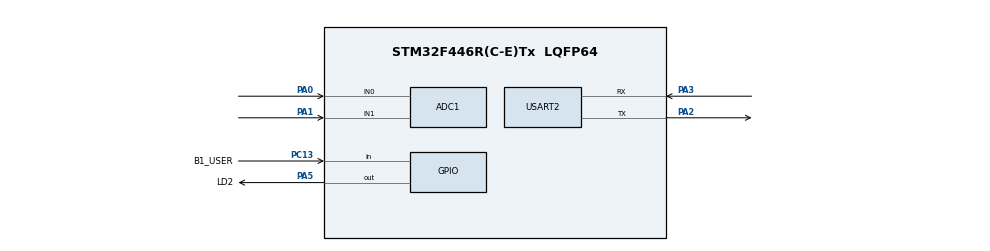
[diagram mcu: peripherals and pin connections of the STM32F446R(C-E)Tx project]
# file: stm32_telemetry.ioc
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ADC1.Channel-3\#ChannelRegularConversion=ADC_CHANNEL_0
ADC1.Channel-4\#ChannelRegularConversion=ADC_CHANNEL_1
ADC1.ClockPrescaler=ADC_CLOCK_SYNC_PCLK_DIV4
ADC1.EnableAnalogWatchDog=false
ADC1.InjNumberOfConversion=0
ADC1.NbrOfConversion=2
ADC1.NbrOfConversionFlag=1
ADC1.Rank-3\#ChannelRegularConversion=1
ADC1.Rank-4\#ChannelRegularConversion=2
ADC1.SamplingTime-3\#ChannelRegularConversion=ADC_SAMPLETIME_84CYCLES
ADC1.SamplingTime-4\#ChannelRegularConversion=ADC_SAMPLETIME_84CYCLES
ADC1.ScanConvMode=ENABLE
ADC1.master=1
Mcu.Family=STM32F4
Mcu.Name=STM32F446R(C-E)Tx
Mcu.Package=LQFP64
NVIC.PriorityGroup=NVIC_PRIORITYGROUP_4
PA0-WKUP.Signal=ADCx_IN0
PA1.Signal=ADCx_IN1
PA13.Mode=Serial_Wire
PA13.Signal=SYS_JTMS-SWDIO
PA14.Mode=Serial_Wire
PA14.Signal=SYS_JTCK-SWCLK
PA2.Mode=Asynchronous
PA2.Signal=USART2_TX
PA3.Mode=Asynchronous
PA3.Signal=USART2_RX
PA5.GPIO_Label=LD2
PA5.Signal=GPIO_Output
PC13.GPIO_Label=B1_USER
PC13.Signal=GPIO_Input
ProjectManager.HeapSize=0x200
ProjectManager.StackSize=0x400
ProjectManager.TargetToolchain=CMake
RCC.CortexFreq_Value=16000000
RCC.USBFreq_Value=96000000
RCC.VCOOutputFreq_Value=192000000
SH.ADCx_IN0.0=ADC1_IN0,IN0
SH.ADCx_IN1.0=ADC1_IN1,IN1
USART2.VirtualMode=VM_ASYNC
board=custom

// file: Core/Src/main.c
/* USER CODE BEGIN Header */
/**
  ******************************************************************************
  * @file           : main.c
  * @brief          : Main program body
  ******************************************************************************
  * @attention
  *
  * Copyright (c) 2026 STMicroelectronics.
  * All rights reserved.
  *
  * This software is licensed under terms that can be found in the LICENSE file
  * in the root directory of this software component.
  * If no LICENSE file comes with this software, it is provided AS-IS.
  *
  ******************************************************************************
  */
/* USER CODE END Header */
#include "main.h"
#include "adc.h"
#include "usart.h"
#include "gpio.h"

/* USER CODE BEGIN Includes */
#include <stdio.h>
#include "sensor_conversion.h"
#include "command_service.h"
/* USER CODE END Includes */

/* USER CODE BEGIN PD */
#define LED_TOGGLE_INTERVAL_MS 250U
#define UART_HEARTBEAT_INTERVAL_MS 2000U
#define TELEMETRY_SCHEMA_VERSION 1U

/* USER CODE END PD */

/* USER CODE BEGIN PV */
static volatile uint32_t uart_rx_count = 0U;
static uint8_t uart_rx_byte = 0U;
/* Queue shared with the ISR; restart/error flags are read by the main loop. */
static CommandService commands;
static volatile uint32_t uart_rx_errors = 0U;
static volatile bool uart_rx_restart_pending = false;
/* USER CODE END PV */

void SystemClock_Config(void);
/* USER CODE BEGIN PFP */
static void UART_Write(const char *message, uint16_t length);

/* USER CODE END PFP */

/* USER CODE BEGIN 0 */
/* message: bytes to transmit; length: byte count. Main-loop calls only. */
static void UART_Write(const char *message, uint16_t length)
{
  (void)HAL_UART_Transmit(&huart2, (const uint8_t *)message, length, 100U);
}

/* No parameters: recover RX and dispatch one bounded batch in the main loop. */
static void UART_ProcessCommands(void)
{
  if (uart_rx_restart_pending)
  {
    /* With no DMA, abort only resets receive state; it never transmits. */
    const uint32_t irq_state = __get_PRIMASK();
    __disable_irq();
    (void)HAL_UART_AbortReceive(&huart2);
    __HAL_UART_CLEAR_OREFLAG(&huart2);
    command_service_rx_lost(&commands);
    uart_rx_restart_pending =
        HAL_UART_Receive_IT(&huart2, &uart_rx_byte, 1U) != HAL_OK;
    __set_PRIMASK(irq_state);
  }

  const CommandEvent event = command_service_poll(&commands);
  if (event == COMMAND_EVENT_STATUS)
  {
    char response[128];
    const int length = snprintf(response, sizeof(response),
        "STATUS OK uptime_ms=%lu rx_dropped=%u uart_errors=%lu schema=1\r\n",
        (unsigned long)HAL_GetTick(),
        atomic_load_explicit(&commands.dropped, memory_order_relaxed),
        (unsigned long)uart_rx_errors);
    if (length > 0 && length < (int)sizeof(response))
    {
      UART_Write(response, (uint16_t)length);
    }
  }
  else if (event != COMMAND_EVENT_NONE)
  {
    static const char invalid[] = "ERR invalid command\r\n";
    static const char too_long[] = "ERR command too long\r\n";
    static const char loss[] = "ERR RX loss; send newline then retry\r\n";
    const char *message = invalid;
    uint16_t length = (uint16_t)(sizeof(invalid) - 1U);
    if (event == COMMAND_EVENT_TOO_LONG)
    {
      message = too_long;
      length = (uint16_t)(sizeof(too_long) - 1U);
    }
    else if (event == COMMAND_EVENT_RX_LOSS)
    {
      message = loss;
      length = (uint16_t)(sizeof(loss) - 1U);
    }
    UART_Write(message, length);
  }
}

/* USER CODE END 0 */

int main(void)
{

  /* MCU Configuration--------------------------------------------------------*/

  /* Reset of all peripherals, Initializes the Flash interface and the Systick. */
  HAL_Init();

  /* Configure the system clock */
  SystemClock_Config();

  /* Initialize all configured peripherals */
  MX_GPIO_Init();
  MX_ADC1_Init();
  MX_USART2_UART_Init();
  /* USER CODE BEGIN 2 */

  /* Initialize the queue and framing state before the first receive interrupt. */
  command_service_init(&commands);
  const HAL_StatusTypeDef rx_status = HAL_UART_Receive_IT(&huart2, &uart_rx_byte, 1U);

  if (rx_status != HAL_OK)
  {
    Error_Handler();
  }

  uint32_t last_uart_heartbeat_ms = HAL_GetTick();
  static const char startup_message[] =
      "\r\nSTM32 telemetry smoke test ready\r\n"
      "LD2 is blinking; press blue B1 to test input.\r\n";
  GPIO_PinState previous_button_state = HAL_GPIO_ReadPin(B1_USER_GPIO_Port,
                                                          B1_USER_Pin);
  uint32_t last_led_toggle_ms = HAL_GetTick();
  char adc_message[192];
  UART_Write(startup_message, (uint16_t)(sizeof(startup_message) - 1U));

  /* USER CODE END 2 */

  /* Infinite loop */
  while (1)
  {

    /* USER CODE BEGIN 3 */
    UART_ProcessCommands();
    const uint32_t now_ms = HAL_GetTick();
    if ((now_ms - last_uart_heartbeat_ms) >= UART_HEARTBEAT_INTERVAL_MS)
    {
      const HAL_StatusTypeDef adc_start_status = HAL_ADC_Start(&hadc1);
      if (adc_start_status == HAL_OK)
      {
        const HAL_StatusTypeDef adc_temp_poll_status =
            HAL_ADC_PollForConversion(&hadc1, 100U);
        if (adc_temp_poll_status == HAL_OK)
        {
          const uint32_t temp_raw = HAL_ADC_GetValue(&hadc1);
          const HAL_StatusTypeDef adc_light_poll_status =
              HAL_ADC_PollForConversion(&hadc1, 100U);
          if (adc_light_poll_status == HAL_OK)
          {
            const uint32_t light_raw = HAL_ADC_GetValue(&hadc1);
            const uint32_t voltage_mv =
                adc_raw_to_millivolts(temp_raw, 3300U);
            const int32_t temperature_tenths_c =
                tmp36_millivolts_to_tenths_c(voltage_mv);
            const int message_length = snprintf(
              adc_message,
              sizeof(adc_message),
              "{\"type\":\"telemetry\",\"schema\":%lu,"
              "\"uptime_ms\":%lu,\"temp_raw\":%lu,"
              "\"temp_mv\":%lu,\"temp_x10_c\":%ld,"
              "\"light_raw\":%lu}\r\n",
              (unsigned long)TELEMETRY_SCHEMA_VERSION,
              (unsigned long)now_ms,
              (unsigned long)temp_raw,
              (unsigned long)voltage_mv,
              (long)temperature_tenths_c,
              (unsigned long)light_raw);
            if ((message_length > 0) &&
                (message_length < (int)sizeof(adc_message)))
            {
              UART_Write(adc_message, (uint16_t)message_length);
            }
          }
          else
          {
            static const char adc_light_poll_error_message[] =
                "ADC error: light poll failed\r\n";
            UART_Write(adc_light_poll_error_message,
                       (uint16_t)(sizeof(adc_light_poll_error_message) - 1U));
          }
        }
        else
        {
          static const char adc_temp_poll_error_message[] =
              "ADC error: temperature poll failed\r\n";
          UART_Write(adc_temp_poll_error_message,
                     (uint16_t)(sizeof(adc_temp_poll_error_message) - 1U));
        }

        const HAL_StatusTypeDef adc_stop_status = HAL_ADC_Stop(&hadc1);
        if (adc_stop_status != HAL_OK)
        {
          static const char adc_stop_error_message[] =
              "ADC error: stop failed\r\n";
          UART_Write(adc_stop_error_message,
                     (uint16_t)(sizeof(adc_stop_error_message) - 1U));
        }
      }
      else
      {
        static const char adc_start_error_message[] = "ADC error: start failed\r\n";
        UART_Write(adc_start_error_message, (uint16_t)(sizeof(adc_start_error_message) - 1U));
      }
      last_uart_heartbeat_ms = now_ms;
    }

    const GPIO_PinState button_state = HAL_GPIO_ReadPin(B1_USER_GPIO_Port,
                                                        B1_USER_Pin);

    if (button_state == GPIO_PIN_RESET)
    {
      HAL_GPIO_WritePin(LD2_GPIO_Port, LD2_Pin, GPIO_PIN_SET);
    }
    else if ((now_ms - last_led_toggle_ms) >= LED_TOGGLE_INTERVAL_MS)
    {
      HAL_GPIO_TogglePin(LD2_GPIO_Port, LD2_Pin);
      last_led_toggle_ms = now_ms;
    }

    if (button_state != previous_button_state)
    {
      HAL_Delay(20U);
      if (HAL_GPIO_ReadPin(B1_USER_GPIO_Port, B1_USER_Pin) == button_state)
      {
        if (button_state == GPIO_PIN_RESET)
        {
          static const char pressed_message[] = "B1 pressed\r\n";
          UART_Write(pressed_message,
                     (uint16_t)(sizeof(pressed_message) - 1U));
        }
        else
        {
          static const char released_message[] = "B1 released\r\n";
          UART_Write(released_message,
                     (uint16_t)(sizeof(released_message) - 1U));
        }
        previous_button_state = button_state;
      }
    }
  }
  /* USER CODE END 3 */
}

void SystemClock_Config(void)
{
  RCC_OscInitTypeDef RCC_OscInitStruct = {0};
  RCC_ClkInitTypeDef RCC_ClkInitStruct = {0};

  /** Configure the main internal regulator output voltage
  */
  __HAL_RCC_PWR_CLK_ENABLE();
  __HAL_PWR_VOLTAGESCALING_CONFIG(PWR_REGULATOR_VOLTAGE_SCALE3);

  /** Initializes the RCC Oscillators according to the specified parameters
  * in the RCC_OscInitTypeDef structure.
  */
  RCC_OscInitStruct.OscillatorType = RCC_OSCILLATORTYPE_HSI;
  RCC_OscInitStruct.HSIState = RCC_HSI_ON;
  RCC_OscInitStruct.HSICalibrationValue = RCC_HSICALIBRATION_DEFAULT;
  RCC_OscInitStruct.PLL.PLLState = RCC_PLL_NONE;
  if (HAL_RCC_OscConfig(&RCC_OscInitStruct) != HAL_OK)
  {
    Error_Handler();
  }

  /** Initializes the CPU, AHB and APB buses clocks
  */
  RCC_ClkInitStruct.ClockType = RCC_CLOCKTYPE_HCLK|RCC_CLOCKTYPE_SYSCLK
                              |RCC_CLOCKTYPE_PCLK1|RCC_CLOCKTYPE_PCLK2;
  RCC_ClkInitStruct.SYSCLKSource = RCC_SYSCLKSOURCE_HSI;
  RCC_ClkInitStruct.AHBCLKDivider = RCC_SYSCLK_DIV1;
  RCC_ClkInitStruct.APB1CLKDivider = RCC_HCLK_DIV1;
  RCC_ClkInitStruct.APB2CLKDivider = RCC_HCLK_DIV1;

  if (HAL_RCC_ClockConfig(&RCC_ClkInitStruct, FLASH_LATENCY_0) != HAL_OK)
  {
    Error_Handler();
  }
}

/* USER CODE BEGIN 4 */
/* huart: HAL peripheral that completed reception; copy before rearming. */
void HAL_UART_RxCpltCallback(UART_HandleTypeDef *huart)
{
  if (huart == &huart2)
  {
    uart_rx_count++;
    command_service_receive(&commands, uart_rx_byte);

    const HAL_StatusTypeDef rx_status =
        HAL_UART_Receive_IT(&huart2, &uart_rx_byte, 1U);

    if (rx_status != HAL_OK)
    {
      uart_rx_errors++;
      command_service_rx_lost(&commands);
      uart_rx_restart_pending = true;
    }
  }
}

/* huart: peripheral reporting a UART fault; defer recovery to the main loop. */
void HAL_UART_ErrorCallback(UART_HandleTypeDef *huart)
{
  if (huart == &huart2)
  {
    uart_rx_errors++;
    command_service_rx_lost(&commands);
    uart_rx_restart_pending = true;
  }
}
/* USER CODE END 4 */

void Error_Handler(void)
{
  __disable_irq();
  while (1)
  {
  }
}
